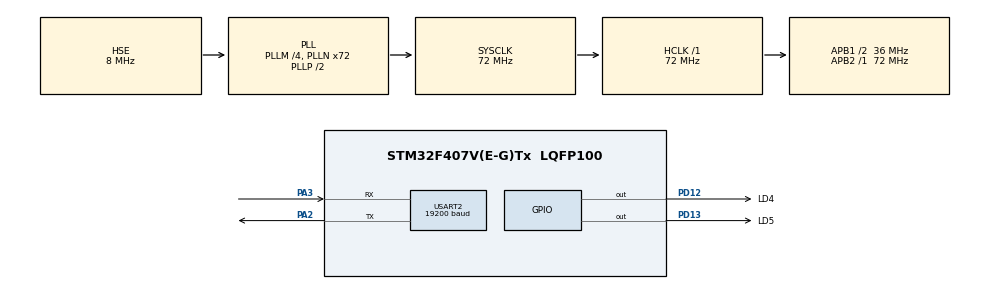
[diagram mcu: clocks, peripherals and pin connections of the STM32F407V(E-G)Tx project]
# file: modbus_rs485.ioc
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Dma.Request0=USART2_TX
Dma.USART2_TX.0.Direction=DMA_MEMORY_TO_PERIPH
Dma.USART2_TX.0.FIFOMode=DMA_FIFOMODE_DISABLE
Dma.USART2_TX.0.Instance=DMA1_Stream6
Dma.USART2_TX.0.MemDataAlignment=DMA_MDATAALIGN_BYTE
Dma.USART2_TX.0.MemInc=DMA_MINC_ENABLE
Dma.USART2_TX.0.Mode=DMA_NORMAL
Dma.USART2_TX.0.PeriphDataAlignment=DMA_PDATAALIGN_BYTE
Dma.USART2_TX.0.PeriphInc=DMA_PINC_DISABLE
Dma.USART2_TX.0.Priority=DMA_PRIORITY_MEDIUM
FREERTOS.INCLUDE_vTaskDelayUntil=1
FREERTOS.INCLUDE_xEventGroupSetBitFromISR=1
FREERTOS.INCLUDE_xTaskGetCurrentTaskHandle=1
FREERTOS.INCLUDE_xTimerPendFunctionCall=1
FREERTOS.Tasks01=defaultTask,0,128,StartDefaultTask,Default,NULL,Dynamic,NULL,NULL
FREERTOS.configUSE_NEWLIB_REENTRANT=1
FREERTOS.configUSE_TIMERS=1
FREERTOS.configUSE_TRACE_FACILITY=1
Mcu.Family=STM32F4
Mcu.Name=STM32F407V(E-G)Tx
Mcu.Package=LQFP100
NVIC.DMA1_Stream6_IRQn=true\:5\:0\:false\:false\:true\:true\:false\:true
NVIC.PriorityGroup=NVIC_PRIORITYGROUP_4
NVIC.TIM6_DAC_IRQn=true\:15\:0\:false\:false\:true\:false\:false\:true
NVIC.TIM7_IRQn=true\:5\:0\:false\:false\:true\:true\:true\:true
NVIC.TimeBase=TIM6_DAC_IRQn
NVIC.TimeBaseIP=TIM6
NVIC.USART2_IRQn=true\:5\:0\:false\:false\:true\:true\:true\:true
PA2.Mode=Asynchronous
PA2.Signal=USART2_TX
PA3.Mode=Asynchronous
PA3.Signal=USART2_RX
PD12.GPIO_Label=LD4
PD12.Signal=GPIO_Output
PD13.GPIO_Label=LD5
PD13.Signal=GPIO_Output
PH0-OSC_IN.Mode=HSE-External-Oscillator
PH0-OSC_IN.Signal=RCC_OSC_IN
PH1-OSC_OUT.Mode=HSE-External-Oscillator
PH1-OSC_OUT.Signal=RCC_OSC_OUT
ProjectManager.HeapSize=0x200
ProjectManager.StackSize=0x400
ProjectManager.TargetToolchain=STM32CubeIDE
RCC.48MHZClocksFreq_Value=36000000
RCC.AHBFreq_Value=72000000
RCC.APB1CLKDivider=RCC_HCLK_DIV2
RCC.APB1Freq_Value=36000000
RCC.APB1TimFreq_Value=72000000
RCC.APB2Freq_Value=72000000
RCC.APB2TimFreq_Value=72000000
RCC.CortexFreq_Value=72000000
RCC.HCLKFreq_Value=72000000
RCC.HSE_VALUE=8000000
RCC.HSI_VALUE=16000000
RCC.LSE_VALUE=32768
RCC.PLLM=4
RCC.PLLN=72
RCC.PLLSourceVirtual=RCC_PLLSOURCE_HSE
RCC.SYSCLKFreq_VALUE=72000000
RCC.SYSCLKSource=RCC_SYSCLKSOURCE_PLLCLK
RCC.VCOOutputFreq_Value=144000000
USART2.BaudRate=19200
USART2.VirtualMode=VM_ASYNC
VP_FREERTOS_VS_CMSIS_V1.Mode=CMSIS_V1
VP_SYS_VS_tim6.Mode=TIM6
VP_TIM7_VS_ClockSourceINT.Mode=Enable_Timer
board=custom

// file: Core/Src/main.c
/* USER CODE BEGIN Header */
/**
  ******************************************************************************
  * @file           : main.c
  * @brief          : Main program body
  ******************************************************************************
  * @attention
  *
  * <h2><center>&copy; Copyright (c) 2021 STMicroelectronics.
  * All rights reserved.</center></h2>
  *
  * This software component is licensed by ST under BSD 3-Clause license,
  * the "License"; You may not use this file except in compliance with the
  * License. You may obtain a copy of the License at:
  *                        opensource.org/licenses/BSD-3-Clause
  *
  ******************************************************************************
  */
/* USER CODE END Header */
#include "main.h"
#include "cmsis_os.h"

/* USER CODE BEGIN Includes */
#include "mbconfig.h"

/* USER CODE END Includes */

TIM_HandleTypeDef htim7;

UART_HandleTypeDef huart2;
DMA_HandleTypeDef hdma_usart2_tx;

osThreadId defaultTaskHandle;
/* USER CODE BEGIN PV */
#if MB_SLAVE_RTU_ENABLED > 0
osThreadId  mbSlavePollTask_h;
extern void ModbusSlaveRTUTask(void const * argument);
#endif /* MB_SLAVE_RTU_ENABLED */

#if MB_MASTER_RTU_ENABLED > 0
osThreadId mbMasterPollTask_h;
osThreadId mbMasterUserTask_h;
extern void ModbusMasterUserRTUTask(void const * argument);
extern void ModbusMasterRTUTask(void const * argument);
extern void ModbusMasterStackInit(void);
#endif
/* USER CODE END PV */

void SystemClock_Config(void);
static void MX_GPIO_Init(void);
static void MX_DMA_Init(void);
static void MX_USART2_UART_Init(void);
static void MX_TIM7_Init(void);
void StartDefaultTask(void const * argument);

/* USER CODE BEGIN 0 */
osThreadId  mbPollTask_h;
/* USER CODE END 0 */

int main(void)
{

  /* MCU Configuration--------------------------------------------------------*/

  /* Reset of all peripherals, Initializes the Flash interface and the Systick. */
  HAL_Init();

  /* Configure the system clock */
  SystemClock_Config();

  /* Initialize all configured peripherals */
  MX_GPIO_Init();
  MX_DMA_Init();
  MX_USART2_UART_Init();
  MX_TIM7_Init();

  /* Create the thread(s) */
  /* definition and creation of defaultTask */
  osThreadDef(defaultTask, StartDefaultTask, osPriorityNormal, 0, 128);
  defaultTaskHandle = osThreadCreate(osThread(defaultTask), NULL);

  /* USER CODE BEGIN RTOS_THREADS */
  /* add threads, ... */
#if MB_SLAVE_RTU_ENABLED > 0
  osThreadDef(ModbusRTUTask, ModbusSlaveRTUTask, osPriorityNormal, 0, configMINIMAL_STACK_SIZE + 128);
  mbSlavePollTask_h = osThreadCreate(osThread(ModbusRTUTask), NULL);
#endif

#if MB_MASTER_RTU_ENABLED > 0
  ModbusMasterStackInit();
  osThreadDef(mbMasterTask, ModbusMasterRTUTask, osPriorityNormal, 0, configMINIMAL_STACK_SIZE + 128);
  mbMasterPollTask_h = osThreadCreate(osThread(mbMasterTask), NULL);

  osThreadDef(mbMasterUserTask, ModbusMasterUserRTUTask, osPriorityNormal, 0, configMINIMAL_STACK_SIZE + 128);
  mbMasterUserTask_h = osThreadCreate(osThread(mbMasterUserTask), NULL);
#endif /* MB_MASTER_RTU_ENABLED */

  /* USER CODE END RTOS_THREADS */

  /* Start scheduler */
  osKernelStart();

  /* We should never get here as control is now taken by the scheduler */
  /* Infinite loop */
  while (1)
  {

  }
}

void SystemClock_Config(void)
{
  RCC_OscInitTypeDef RCC_OscInitStruct = {0};
  RCC_ClkInitTypeDef RCC_ClkInitStruct = {0};

  /** Configure the main internal regulator output voltage
  */
  __HAL_RCC_PWR_CLK_ENABLE();
  __HAL_PWR_VOLTAGESCALING_CONFIG(PWR_REGULATOR_VOLTAGE_SCALE1);
  /** Initializes the RCC Oscillators according to the specified parameters
  * in the RCC_OscInitTypeDef structure.
  */
  RCC_OscInitStruct.OscillatorType = RCC_OSCILLATORTYPE_HSE;
  RCC_OscInitStruct.HSEState = RCC_HSE_ON;
  RCC_OscInitStruct.PLL.PLLState = RCC_PLL_ON;
  RCC_OscInitStruct.PLL.PLLSource = RCC_PLLSOURCE_HSE;
  RCC_OscInitStruct.PLL.PLLM = 4;
  RCC_OscInitStruct.PLL.PLLN = 72;
  RCC_OscInitStruct.PLL.PLLP = RCC_PLLP_DIV2;
  RCC_OscInitStruct.PLL.PLLQ = 4;
  if (HAL_RCC_OscConfig(&RCC_OscInitStruct) != HAL_OK)
  {
    Error_Handler();
  }
  /** Initializes the CPU, AHB and APB buses clocks
  */
  RCC_ClkInitStruct.ClockType = RCC_CLOCKTYPE_HCLK|RCC_CLOCKTYPE_SYSCLK
                              |RCC_CLOCKTYPE_PCLK1|RCC_CLOCKTYPE_PCLK2;
  RCC_ClkInitStruct.SYSCLKSource = RCC_SYSCLKSOURCE_PLLCLK;
  RCC_ClkInitStruct.AHBCLKDivider = RCC_SYSCLK_DIV1;
  RCC_ClkInitStruct.APB1CLKDivider = RCC_HCLK_DIV2;
  RCC_ClkInitStruct.APB2CLKDivider = RCC_HCLK_DIV1;

  if (HAL_RCC_ClockConfig(&RCC_ClkInitStruct, FLASH_LATENCY_2) != HAL_OK)
  {
    Error_Handler();
  }
}

static void MX_TIM7_Init(void)
{

  TIM_MasterConfigTypeDef sMasterConfig = {0};

  htim7.Instance = TIM7;
  htim7.Init.Prescaler = 0;
  htim7.Init.CounterMode = TIM_COUNTERMODE_UP;
  htim7.Init.Period = 65535;
  htim7.Init.AutoReloadPreload = TIM_AUTORELOAD_PRELOAD_DISABLE;
  if (HAL_TIM_Base_Init(&htim7) != HAL_OK)
  {
    Error_Handler();
  }
  sMasterConfig.MasterOutputTrigger = TIM_TRGO_RESET;
  sMasterConfig.MasterSlaveMode = TIM_MASTERSLAVEMODE_DISABLE;
  if (HAL_TIMEx_MasterConfigSynchronization(&htim7, &sMasterConfig) != HAL_OK)
  {
    Error_Handler();
  }

}

static void MX_USART2_UART_Init(void)
{

  huart2.Instance = USART2;
  huart2.Init.BaudRate = 19200;
  huart2.Init.WordLength = UART_WORDLENGTH_8B;
  huart2.Init.StopBits = UART_STOPBITS_1;
  huart2.Init.Parity = UART_PARITY_NONE;
  huart2.Init.Mode = UART_MODE_TX_RX;
  huart2.Init.HwFlowCtl = UART_HWCONTROL_NONE;
  huart2.Init.OverSampling = UART_OVERSAMPLING_16;
  if (HAL_UART_Init(&huart2) != HAL_OK)
  {
    Error_Handler();
  }

}

static void MX_DMA_Init(void)
{

  /* DMA controller clock enable */
  __HAL_RCC_DMA1_CLK_ENABLE();

  /* DMA interrupt init */
  /* DMA1_Stream6_IRQn interrupt configuration */
  HAL_NVIC_SetPriority(DMA1_Stream6_IRQn, 5, 0);
  HAL_NVIC_EnableIRQ(DMA1_Stream6_IRQn);

}

static void MX_GPIO_Init(void)
{
  GPIO_InitTypeDef GPIO_InitStruct = {0};

  /* GPIO Ports Clock Enable */
  __HAL_RCC_GPIOH_CLK_ENABLE();
  __HAL_RCC_GPIOA_CLK_ENABLE();
  __HAL_RCC_GPIOD_CLK_ENABLE();

  /*Configure GPIO pin Output Level */
  HAL_GPIO_WritePin(GPIOD, LD4_Pin|LD5_Pin, GPIO_PIN_RESET);

  /*Configure GPIO pins : LD4_Pin LD5_Pin */
  GPIO_InitStruct.Pin = LD4_Pin|LD5_Pin;
  GPIO_InitStruct.Mode = GPIO_MODE_OUTPUT_PP;
  GPIO_InitStruct.Pull = GPIO_NOPULL;
  GPIO_InitStruct.Speed = GPIO_SPEED_FREQ_LOW;
  HAL_GPIO_Init(GPIOD, &GPIO_InitStruct);

}

void StartDefaultTask(void const * argument)
{
  for(;;)
  {
    osDelay(1);
  }
}

void HAL_TIM_PeriodElapsedCallback(TIM_HandleTypeDef *htim)
{
  if (htim->Instance == TIM6) {
    HAL_IncTick();
  }
}

void Error_Handler(void)
{
  __disable_irq();
  while (1)
  {
  }
}

/************************ (C) COPYRIGHT STMicroelectronics *****END OF FILE****/
